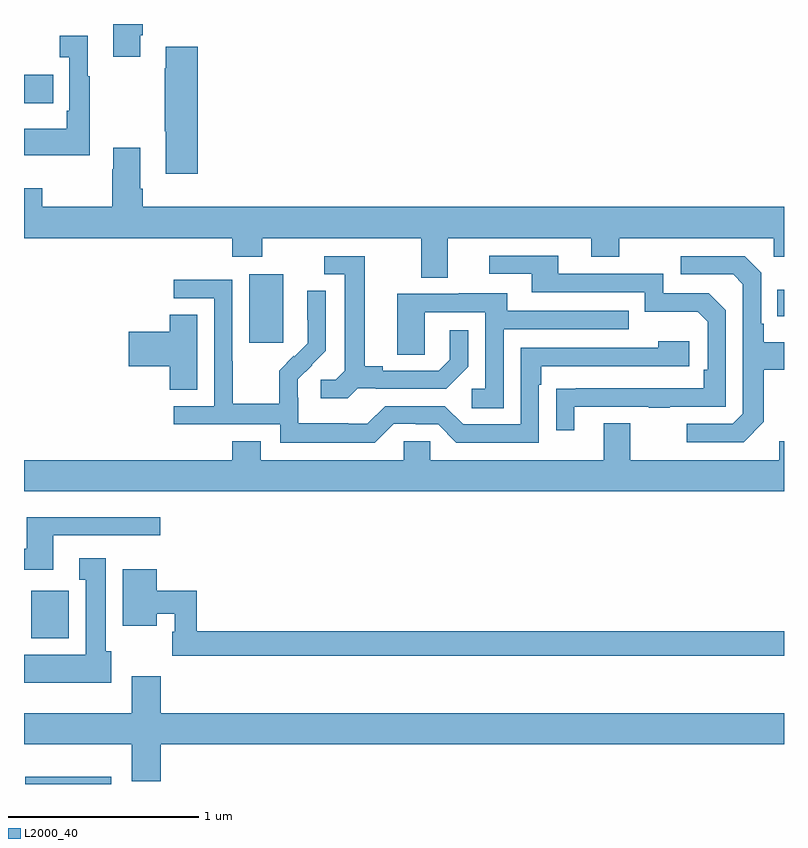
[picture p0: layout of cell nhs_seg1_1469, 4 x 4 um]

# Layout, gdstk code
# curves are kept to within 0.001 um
import gdstk
lib = gdstk.Library(unit=1e-6, precision=1e-09)
def R(c, l, rs):  # rectangles x0, y0, x1, y1
    for r in rs: c.add(gdstk.rectangle(r[:2], r[2:], *l))
def P(c, l, *ps):  # polygons
    for p in ps: c.add(gdstk.Polygon(p, *l))
L2000_40 = (2000, 40)

nhs_seg1_1469 = lib.new_cell('nhs_seg1_1469')
R(nhs_seg1_1469, L2000_40, [(191.007,542.199,191.458,542.236), (191.039,542.966,191.235,543.217), (192.185,544.521,192.364,544.882), (194.965,544.661,195,544.801), (191,545.783,191.153,545.931)])
P(nhs_seg1_1469, L2000_40, [(191.611,546.139),(191.624,546.139),(191.624,546.199),(191.471,546.199),(191.471,546.027),(191.611,546.027)],
  [(191.347,545.923),(191.335,545.923),(191.335,546.136),(191.187,546.136),(191.187,546.023),(191.238,546.023),(191.238,545.743),(191.226,545.743),(191.226,545.647),(191,545.647),(191,545.507),(191.347,545.507)],
  [(191.915,546.079),(191.747,546.079),(191.747,545.966),(191.74,545.966),(191.74,545.635),(191.747,545.635),(191.747,545.412),(191.915,545.412)],
  [(193.231,545.072),(193.985,545.072),(193.985,544.973),(194.133,544.973),(194.133,545.072),(194.946,545.072),(194.946,544.973),(195,544.973),(195,545.236),(191.624,545.236),(191.624,545.332),(191.611,545.332),(191.611,545.548),(191.471,545.548),(191.471,545.435),(191.464,545.435),(191.464,545.236),(191.097,545.236),(191.097,545.335),(191,545.335),(191,545.072),(192.095,545.072),(192.095,544.973),(192.255,544.973),(192.255,545.072),(193.091,545.072),(193.091,544.864),(193.231,544.864)],
  [(193.897,544.185),(194.287,544.185),(194.287,544.18),(194.399,544.18),(194.399,544.185),(194.694,544.185),(194.694,544.692),(194.604,544.782),(194.364,544.782),(194.364,544.884),(193.813,544.884),(193.813,544.98),(193.449,544.98),(193.449,544.884),(193.673,544.884),(193.673,544.788),(194.268,544.788),(194.268,544.685),(194.545,544.685),(194.598,544.632),(194.598,544.378),(194.578,544.378),(194.578,544.281),(193.801,544.28),(193.801,544.062),(193.897,544.062)],
  [(194.893,544.105),(194.893,544.378),(195,544.378),(195,544.525),(194.893,544.525),(194.893,544.621),(194.88,544.621),(194.88,544.89),(194.793,544.977),(194.457,544.977),(194.457,544.881),(194.733,544.881),(194.784,544.83),(194.784,544.149),(194.73,544.095),(194.487,544.095),(194.487,543.999),(194.787,543.999)],
  [(192.756,544.281),(192.85,544.281),(192.85,544.278),(193.222,544.278),(193.338,544.394),(193.338,544.588),(193.241,544.588),(193.241,544.431),(193.184,544.374),(192.889,544.374),(192.889,544.397),(192.793,544.397),(192.793,544.977),(192.579,544.977),(192.579,544.881),(192.689,544.881),(192.689,544.373),(192.642,544.326),(192.561,544.326),(192.561,544.229),(192.704,544.229)],
  [(192.945,544.095),(193.061,544.095),(193.061,544.092),(193.179,544.092),(193.275,543.996),(193.71,543.996),(193.71,544.301),(193.723,544.301),(193.723,544.398),(194.5,544.398),(194.5,544.528),(194.339,544.528),(194.339,544.494),(193.614,544.494),(193.614,544.092),(193.311,544.092),(193.215,544.188),(192.9,544.188),(192.807,544.095),(192.707,544.095),(192.707,544.099),(192.444,544.099),(192.444,544.233),(192.442,544.233),(192.442,544.33),(192.588,544.478),(192.588,544.796),(192.492,544.796),(192.492,544.642),(192.494,544.642),(192.494,544.52),(192.423,544.449),(192.42,544.452),(192.343,544.375),(192.343,544.201),(192.099,544.201),(192.099,544.424),(192.096,544.424),(192.096,544.854),(191.787,544.854),(191.787,544.755),(192,544.755),(192,544.188),(191.787,544.188),(191.787,544.092),(192.348,544.092),(192.348,543.995),(192.845,543.995)],
  [(193.524,544.593),(194.183,544.593),(194.183,544.689),(193.543,544.689),(193.543,544.783),(193.289,544.783),(193.289,544.779),(192.965,544.779),(192.965,544.459),(193.11,544.459),(193.11,544.683),(193.428,544.683),(193.428,544.278),(193.356,544.278),(193.356,544.177),(193.524,544.177)],
  [(191.911,544.67),(191.768,544.67),(191.768,544.58),(191.55,544.58),(191.55,544.397),(191.768,544.397),(191.768,544.273),(191.911,544.273)],
  [(195,544.003),(194.975,544.003),(194.975,543.904),(194.191,543.904),(194.191,544.099),(194.051,544.099),(194.051,543.904),(193.137,543.904),(193.137,544.002),(192.999,544.002),(192.999,543.904),(192.247,543.904),(192.247,544.003),(192.095,544.003),(192.095,543.904),(191,543.904),(191,543.74),(195,543.74)],
  [(191.155,543.507),(191.716,543.507),(191.716,543.604),(191.015,543.604),(191.015,543.436),(191,543.436),(191,543.326),(191.155,543.326)],
  [(191.458,542.898),(191.431,542.898),(191.431,543.388),(191.291,543.388),(191.291,543.275),(191.324,543.275),(191.324,542.878),(191,542.878),(191,542.732),(191.458,542.732)],
  [(195,543.002),(191.909,543.002),(191.909,543.217),(191.698,543.217),(191.698,543.328),(191.519,543.328),(191.519,543.032),(191.698,543.032),(191.698,543.096),(191.793,543.096),(191.793,543),(191.781,543),(191.781,542.874),(195,542.874)],
  [(191.72,542.408),(195,542.408),(195,542.572),(191.72,542.572),(191.72,542.767),(191.567,542.767),(191.567,542.572),(191,542.572),(191,542.408),(191.567,542.408),(191.567,542.214),(191.72,542.214)])

lib.write_gds('nhs_seg1_1469.gds')
